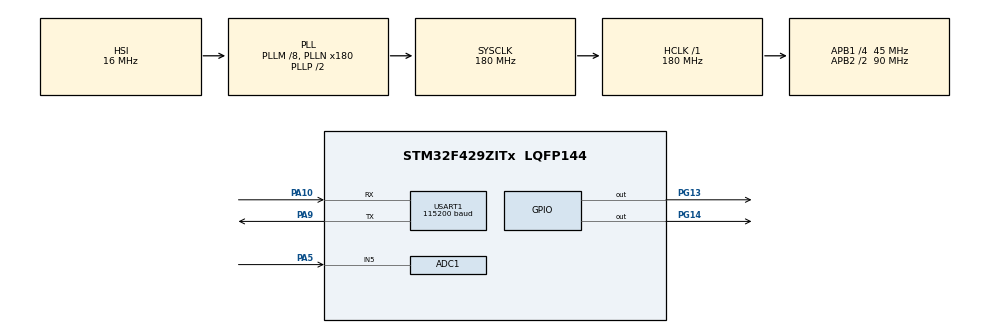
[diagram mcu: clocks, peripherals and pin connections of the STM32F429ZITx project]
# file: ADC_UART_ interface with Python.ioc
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ADC1.Channel-0\#ChannelRegularConversion=ADC_CHANNEL_5
ADC1.ClockPrescaler=ADC_CLOCK_SYNC_PCLK_DIV8
ADC1.ContinuousConvMode=DISABLE
ADC1.DMAContinuousRequests=DISABLE
ADC1.ExternalTrigConv=ADC_EXTERNALTRIGCONV_T8_TRGO
ADC1.NbrOfConversionFlag=1
ADC1.Rank-0\#ChannelRegularConversion=1
ADC1.Resolution=ADC_RESOLUTION_12B
ADC1.SamplingTime-0\#ChannelRegularConversion=ADC_SAMPLETIME_480CYCLES
ADC1.master=1
Mcu.Family=STM32F4
Mcu.Name=STM32F429ZITx
Mcu.Package=LQFP144
NVIC.ADC_IRQn=true\:1\:0\:true\:false\:true\:true\:true\:true
NVIC.PriorityGroup=NVIC_PRIORITYGROUP_1
NVIC.USART1_IRQn=true\:1\:0\:true\:false\:true\:true\:true\:true
PA10.Mode=Asynchronous
PA10.Signal=USART1_RX
PA5.Signal=ADCx_IN5
PA9.Mode=Asynchronous
PA9.Signal=USART1_TX
PG13.Signal=GPIO_Output
PG14.Signal=GPIO_Output
ProjectManager.HeapSize=0x200
ProjectManager.StackSize=0x400
ProjectManager.TargetToolchain=STM32CubeIDE
RCC.48MHZClocksFreq_Value=51428571.428571425
RCC.AHBFreq_Value=180000000
RCC.APB1CLKDivider=RCC_HCLK_DIV4
RCC.APB1Freq_Value=45000000
RCC.APB1TimFreq_Value=90000000
RCC.APB2CLKDivider=RCC_HCLK_DIV2
RCC.APB2Freq_Value=90000000
RCC.APB2TimFreq_Value=180000000
RCC.CortexFreq_Value=180000000
RCC.HCLKFreq_Value=180000000
RCC.HSE_VALUE=8000000
RCC.HSI_VALUE=16000000
RCC.LSE_VALUE=32768
RCC.PLLM=8
RCC.PLLN=180
RCC.PLLQ=7
RCC.SYSCLKFreq_VALUE=180000000
RCC.SYSCLKSource=RCC_SYSCLKSOURCE_PLLCLK
RCC.VCOOutputFreq_Value=360000000
SH.ADCx_IN5.0=ADC1_IN5,IN5
TIM8.Period=1000-1
TIM8.Prescaler=18000-1
TIM8.TIM_MasterOutputTrigger=TIM_TRGO_UPDATE
USART1.BaudRate=115200
USART1.OverSampling=UART_OVERSAMPLING_8
USART1.VirtualMode=VM_ASYNC
VP_TIM8_VS_ClockSourceINT.Mode=Internal
board=STM32F429I-DISC1

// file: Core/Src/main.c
/* USER CODE BEGIN Header */
/**
  ******************************************************************************
  * @file           : main.c
  * @brief          : Main program body
  ******************************************************************************
  * @attention
  *
  * Copyright (c) 2024 STMicroelectronics.
  * All rights reserved.
  *
  * This software is licensed under terms that can be found in the LICENSE file
  * in the root directory of this software component.
  * If no LICENSE file comes with this software, it is provided AS-IS.
  *
  ******************************************************************************
  */

	/***************************** Tutorial Tags ******************************
	 ADC triggered by timer
	 UART data communication to PC
	 Python for control STM32 and reading/ plotting data
	 **************************************************************************/

	/* *************************************************************************
	* Application: ADC_UART_ interface with Python
	*

    Form a project with the following specification:

    Configure STM32F4 to read data from potentiometer. ADC data is triggered using
    appropriate timer at a frquency of 10 Hz (10 samples/second). Data is transfered in real time to Python
    for plotting. Also configure Python to send character "g" via UART to
    for the ADC to start acquiring data, or "r" to stop the ADC. Use animated plot on Python to plot
    updated data frames of 50 digitised ADC samples.
    Green led will be toggled every time a sample is taken by the ADC
    Red led will be turned on when ADC is started by Python and turned off when ADC stops
	***************************************************************************/
/* USER CODE END Header */
#include "main.h"

/* USER CODE BEGIN Includes */
#include<math.h>
/* USER CODE END Includes */

ADC_HandleTypeDef hadc1;

TIM_HandleTypeDef htim8;

UART_HandleTypeDef huart1;

/* USER CODE BEGIN PV */
uint16_t ADC_val;
float Vref = 2.92, ADC_val_conv_V;
uint16_t counter;
uint8_t recData;

/* USER CODE END PV */

void SystemClock_Config(void);
static void MX_GPIO_Init(void);
static void MX_USART1_UART_Init(void);
static void MX_ADC1_Init(void);
static void MX_TIM8_Init(void);

int main(void)
{

  /* MCU Configuration--------------------------------------------------------*/

  /* Reset of all peripherals, Initializes the Flash interface and the Systick. */
  HAL_Init();

  /* Configure the system clock */
  SystemClock_Config();

  /* Initialize all configured peripherals */
  MX_GPIO_Init();
  MX_USART1_UART_Init();
  MX_ADC1_Init();
  MX_TIM8_Init();
  /* USER CODE BEGIN 2 */

  // Clear timer update flag in case it is set at start
  if (__HAL_TIM_GET_FLAG(&htim8 , TIM_FLAG_UPDATE) != RESET)
  __HAL_TIM_CLEAR_FLAG(&htim8 , TIM_FLAG_UPDATE);

  /*Start UART in interrupt mode, to waiting for message from Python client */
  HAL_UART_Receive_IT(&huart1, &recData, 1);

  /* USER CODE END 2 */

  /* Infinite loop */
  while (1)
  {

  }
}

void SystemClock_Config(void)
{
  RCC_OscInitTypeDef RCC_OscInitStruct = {0};
  RCC_ClkInitTypeDef RCC_ClkInitStruct = {0};

  /** Configure the main internal regulator output voltage
  */
  __HAL_RCC_PWR_CLK_ENABLE();
  __HAL_PWR_VOLTAGESCALING_CONFIG(PWR_REGULATOR_VOLTAGE_SCALE1);

  /** Initializes the RCC Oscillators according to the specified parameters
  * in the RCC_OscInitTypeDef structure.
  */
  RCC_OscInitStruct.OscillatorType = RCC_OSCILLATORTYPE_HSI;
  RCC_OscInitStruct.HSIState = RCC_HSI_ON;
  RCC_OscInitStruct.HSICalibrationValue = RCC_HSICALIBRATION_DEFAULT;
  RCC_OscInitStruct.PLL.PLLState = RCC_PLL_ON;
  RCC_OscInitStruct.PLL.PLLSource = RCC_PLLSOURCE_HSI;
  RCC_OscInitStruct.PLL.PLLM = 8;
  RCC_OscInitStruct.PLL.PLLN = 180;
  RCC_OscInitStruct.PLL.PLLP = RCC_PLLP_DIV2;
  RCC_OscInitStruct.PLL.PLLQ = 7;
  if (HAL_RCC_OscConfig(&RCC_OscInitStruct) != HAL_OK)
  {
    Error_Handler();
  }

  /** Activate the Over-Drive mode
  */
  if (HAL_PWREx_EnableOverDrive() != HAL_OK)
  {
    Error_Handler();
  }

  /** Initializes the CPU, AHB and APB buses clocks
  */
  RCC_ClkInitStruct.ClockType = RCC_CLOCKTYPE_HCLK|RCC_CLOCKTYPE_SYSCLK
                              |RCC_CLOCKTYPE_PCLK1|RCC_CLOCKTYPE_PCLK2;
  RCC_ClkInitStruct.SYSCLKSource = RCC_SYSCLKSOURCE_PLLCLK;
  RCC_ClkInitStruct.AHBCLKDivider = RCC_SYSCLK_DIV1;
  RCC_ClkInitStruct.APB1CLKDivider = RCC_HCLK_DIV4;
  RCC_ClkInitStruct.APB2CLKDivider = RCC_HCLK_DIV2;

  if (HAL_RCC_ClockConfig(&RCC_ClkInitStruct, FLASH_LATENCY_5) != HAL_OK)
  {
    Error_Handler();
  }
}

static void MX_ADC1_Init(void)
{

  ADC_ChannelConfTypeDef sConfig = {0};

  /** Configure the global features of the ADC (Clock, Resolution, Data Alignment and number of conversion)
  */
  hadc1.Instance = ADC1;
  hadc1.Init.ClockPrescaler = ADC_CLOCK_SYNC_PCLK_DIV8;
  hadc1.Init.Resolution = ADC_RESOLUTION_12B;
  hadc1.Init.ScanConvMode = DISABLE;
  hadc1.Init.ContinuousConvMode = DISABLE;
  hadc1.Init.DiscontinuousConvMode = DISABLE;
  hadc1.Init.ExternalTrigConvEdge = ADC_EXTERNALTRIGCONVEDGE_RISING;
  hadc1.Init.ExternalTrigConv = ADC_EXTERNALTRIGCONV_T8_TRGO;
  hadc1.Init.DataAlign = ADC_DATAALIGN_RIGHT;
  hadc1.Init.NbrOfConversion = 1;
  hadc1.Init.DMAContinuousRequests = DISABLE;
  hadc1.Init.EOCSelection = ADC_EOC_SINGLE_CONV;
  if (HAL_ADC_Init(&hadc1) != HAL_OK)
  {
    Error_Handler();
  }

  /** Configure for the selected ADC regular channel its corresponding rank in the sequencer and its sample time.
  */
  sConfig.Channel = ADC_CHANNEL_5;
  sConfig.Rank = 1;
  sConfig.SamplingTime = ADC_SAMPLETIME_480CYCLES;
  if (HAL_ADC_ConfigChannel(&hadc1, &sConfig) != HAL_OK)
  {
    Error_Handler();
  }

}

static void MX_TIM8_Init(void)
{

  TIM_ClockConfigTypeDef sClockSourceConfig = {0};
  TIM_MasterConfigTypeDef sMasterConfig = {0};

  htim8.Instance = TIM8;
  htim8.Init.Prescaler = 18000-1;
  htim8.Init.CounterMode = TIM_COUNTERMODE_UP;
  htim8.Init.Period = 1000-1;
  htim8.Init.ClockDivision = TIM_CLOCKDIVISION_DIV1;
  htim8.Init.RepetitionCounter = 0;
  htim8.Init.AutoReloadPreload = TIM_AUTORELOAD_PRELOAD_DISABLE;
  if (HAL_TIM_Base_Init(&htim8) != HAL_OK)
  {
    Error_Handler();
  }
  sClockSourceConfig.ClockSource = TIM_CLOCKSOURCE_INTERNAL;
  if (HAL_TIM_ConfigClockSource(&htim8, &sClockSourceConfig) != HAL_OK)
  {
    Error_Handler();
  }
  sMasterConfig.MasterOutputTrigger = TIM_TRGO_UPDATE;
  sMasterConfig.MasterSlaveMode = TIM_MASTERSLAVEMODE_DISABLE;
  if (HAL_TIMEx_MasterConfigSynchronization(&htim8, &sMasterConfig) != HAL_OK)
  {
    Error_Handler();
  }

}

static void MX_USART1_UART_Init(void)
{

  huart1.Instance = USART1;
  huart1.Init.BaudRate = 115200;
  huart1.Init.WordLength = UART_WORDLENGTH_8B;
  huart1.Init.StopBits = UART_STOPBITS_1;
  huart1.Init.Parity = UART_PARITY_NONE;
  huart1.Init.Mode = UART_MODE_TX_RX;
  huart1.Init.HwFlowCtl = UART_HWCONTROL_NONE;
  huart1.Init.OverSampling = UART_OVERSAMPLING_8;
  if (HAL_UART_Init(&huart1) != HAL_OK)
  {
    Error_Handler();
  }

}

static void MX_GPIO_Init(void)
{
  GPIO_InitTypeDef GPIO_InitStruct = {0};

  /* GPIO Ports Clock Enable */
  __HAL_RCC_GPIOA_CLK_ENABLE();
  __HAL_RCC_GPIOG_CLK_ENABLE();

  /*Configure GPIO pin Output Level */
  HAL_GPIO_WritePin(GPIOG, GPIO_PIN_13|GPIO_PIN_14, GPIO_PIN_RESET);

  /*Configure GPIO pins : PG13 PG14 */
  GPIO_InitStruct.Pin = GPIO_PIN_13|GPIO_PIN_14;
  GPIO_InitStruct.Mode = GPIO_MODE_OUTPUT_PP;
  GPIO_InitStruct.Pull = GPIO_NOPULL;
  GPIO_InitStruct.Speed = GPIO_SPEED_FREQ_LOW;
  HAL_GPIO_Init(GPIOG, &GPIO_InitStruct);

}

/* USER CODE BEGIN 4 */
/*Callback function to receive message from Python client*/
void HAL_UART_RxCpltCallback(UART_HandleTypeDef *huart)
{
	if(recData == 'g'){
		  /*Message to start ADC received!, turn on the red led*/
		HAL_GPIO_WritePin(GPIOG, GPIO_PIN_14, GPIO_PIN_SET);
		  /*Start the timer*/
		HAL_TIM_Base_Start(&htim8);
		  /*Start ADC with Interrupt*/
		HAL_ADC_Start_IT(&hadc1);
	}

	else if (recData == 'r'){
		/*Turn off red led*/
		HAL_GPIO_WritePin(GPIOG, GPIO_PIN_14, GPIO_PIN_RESET);
		/*Turn off red led*/
		HAL_GPIO_WritePin(GPIOG, GPIO_PIN_13, GPIO_PIN_RESET);
		/*Stop the timer*/
		HAL_TIM_Base_Stop(&htim8);
	}

	HAL_UART_Receive_IT(&huart1 , &recData , 1); // Need to put this to generate an interrupt for the next reception of byte
}
/*Callback function for data acquisition*/
void HAL_ADC_ConvCpltCallback(ADC_HandleTypeDef *hadc)
{
    /*Toggle green led for every ADC conversion*/
	HAL_GPIO_TogglePin(GPIOG, GPIO_PIN_13);

	ADC_val = HAL_ADC_GetValue(&hadc1);
	// Convert the ADC digital value to voltage (in V)
	ADC_val_conv_V = (Vref/pow(2,12))*ADC_val;

	/*Transmit data to client over UART*/
	HAL_UART_Transmit(&huart1, (uint8_t*)&counter, 2, 5000);

	HAL_UART_Transmit(&huart1, (uint8_t*)&ADC_val_conv_V, 4, 5000);

	counter++;
    /*In case counter get overflow */
	if (counter == pow(2,32)-1)
		counter = 0;
	__NOP();

}
/* USER CODE END 4 */

void Error_Handler(void)
{
  __disable_irq();
  while (1)
  {
  }
}
